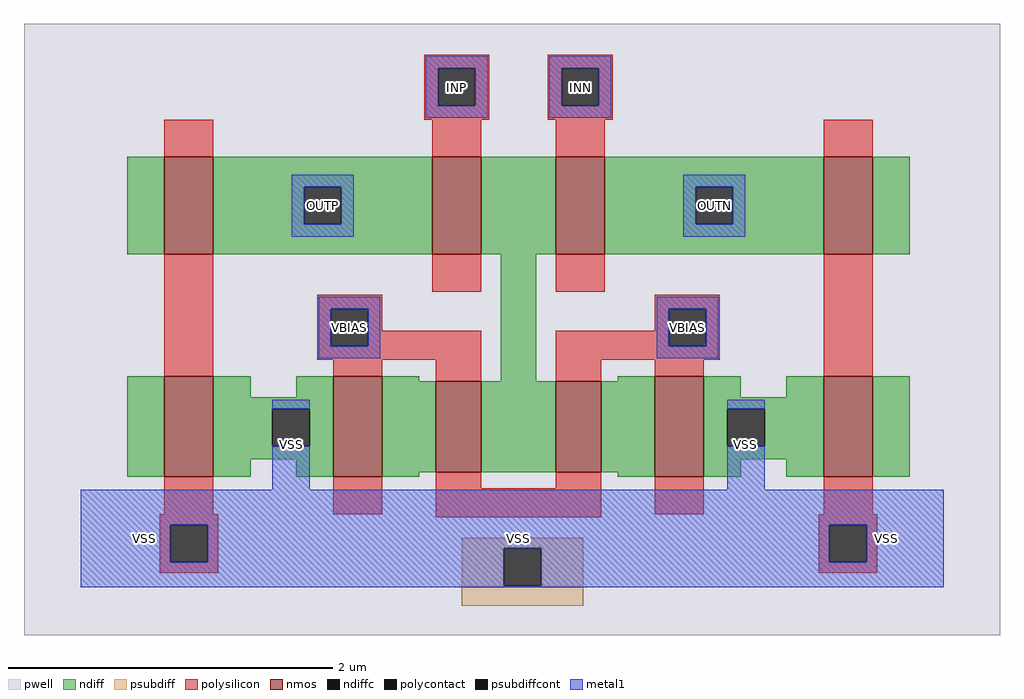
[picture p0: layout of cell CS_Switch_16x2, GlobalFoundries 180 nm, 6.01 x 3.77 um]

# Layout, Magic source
magic
tech gf180mcuD
magscale 1 10
<< pwell >>
rect -377 631 825 1384
<< nmos >>
rect -204 1100 -144 1220
rect 126 1100 186 1220
rect 278 1100 338 1220
rect 608 1100 668 1220
rect -204 826 -144 950
rect 4 826 64 950
rect 130 832 186 944
rect 278 832 334 944
rect 400 826 460 950
rect 608 826 668 950
<< ndiff >>
rect -250 1100 -204 1220
rect -144 1183 126 1220
rect -144 1137 -32 1183
rect 14 1137 126 1183
rect -144 1100 126 1137
rect 186 1100 278 1220
rect 338 1183 608 1220
rect 338 1137 450 1183
rect 496 1137 608 1183
rect 338 1100 608 1137
rect 668 1100 714 1220
rect -250 826 -204 950
rect -144 924 -98 950
rect -42 924 4 950
rect -144 910 4 924
rect -144 864 -71 910
rect -25 864 4 910
rect -144 848 4 864
rect -144 826 -98 848
rect -42 826 4 848
rect 64 944 110 950
rect 210 944 254 1100
rect 354 944 400 950
rect 64 832 130 944
rect 186 832 278 944
rect 334 832 400 944
rect 64 826 110 832
rect 354 826 400 832
rect 460 924 506 950
rect 562 924 608 950
rect 460 910 608 924
rect 460 864 489 910
rect 535 864 608 910
rect 460 848 608 864
rect 460 826 506 848
rect 562 826 608 848
rect 668 826 714 950
<< ndiffc >>
rect -32 1137 14 1183
rect 450 1137 496 1183
rect -71 864 -25 910
rect 489 864 535 910
<< psubdiff >>
rect 162 738 312 751
rect 162 692 214 738
rect 260 692 312 738
rect 162 667 312 692
<< psubdiffcont >>
rect 214 692 260 738
<< polysilicon >>
rect 116 1329 196 1346
rect 116 1283 133 1329
rect 179 1283 196 1329
rect 116 1266 196 1283
rect 268 1329 348 1346
rect 268 1283 285 1329
rect 331 1283 348 1329
rect 268 1266 348 1283
rect -204 1220 -144 1266
rect 126 1220 186 1266
rect 278 1220 338 1266
rect 608 1220 668 1266
rect -204 950 -144 1100
rect 126 1054 186 1100
rect -16 1033 64 1050
rect -16 987 1 1033
rect 47 1006 64 1033
rect 47 987 186 1006
rect -16 970 186 987
rect 4 950 64 970
rect 130 944 186 970
rect 278 1054 338 1100
rect 400 1033 480 1050
rect 400 1006 417 1033
rect 278 987 417 1006
rect 463 987 480 1033
rect 278 970 480 987
rect 278 944 334 970
rect 400 950 460 970
rect 608 950 668 1100
rect -204 780 -144 826
rect 4 780 64 826
rect 130 812 186 832
rect 278 812 334 832
rect -210 767 -138 780
rect 130 776 334 812
rect 400 780 460 826
rect 608 780 668 826
rect -210 721 -197 767
rect -151 721 -138 767
rect 602 767 674 780
rect -210 708 -138 721
rect 602 721 615 767
rect 661 721 674 767
rect 602 708 674 721
<< polycontact >>
rect 133 1283 179 1329
rect 285 1283 331 1329
rect 1 987 47 1033
rect 417 987 463 1033
rect -197 721 -151 767
rect 615 721 661 767
<< metal1 >>
rect 118 1329 194 1344
rect 118 1283 133 1329
rect 179 1283 194 1329
rect 118 1268 194 1283
rect 270 1329 346 1344
rect 270 1283 285 1329
rect 331 1283 346 1329
rect 270 1268 346 1283
rect -47 1183 29 1198
rect -47 1137 -32 1183
rect 14 1137 29 1183
rect -47 1122 29 1137
rect 435 1183 511 1198
rect 435 1137 450 1183
rect 496 1137 511 1183
rect 435 1122 511 1137
rect -14 1033 62 1048
rect -14 987 1 1033
rect 47 987 62 1033
rect -14 972 62 987
rect 402 1033 478 1048
rect 402 987 417 1033
rect 463 987 478 1033
rect 402 972 478 987
rect -71 910 -25 921
rect -71 810 -25 864
rect 489 910 535 921
rect 489 810 535 864
rect -307 767 756 810
rect -307 721 -197 767
rect -151 738 615 767
rect -151 721 214 738
rect -307 692 214 721
rect 260 721 615 738
rect 661 721 756 767
rect 260 692 756 721
rect -307 690 756 692
<< labels >>
flabel metal1 118 1268 194 1344 1 FreeSans 400 0 0 0 INP
port 1 n
flabel metal1 270 1268 346 1344 1 FreeSans 400 0 0 0 INN
port 2 n
flabel metal1 -47 1122 29 1198 1 FreeSans 400 0 0 0 OUTP
port 3 n
flabel metal1 435 1122 511 1198 1 FreeSans 400 0 0 0 OUTN
port 4 n
flabel metal1 -14 972 62 1048 1 FreeSans 400 0 0 0 VBIAS
port 5 n
flabel metal1 402 972 478 1048 1 FreeSans 400 0 0 0 VBIAS
port 6 n
flabel metal1 -151 690 615 810 1 FreeSans 400 0 0 0 VSS
port 7 n
rlabel pwell 615 690 756 811 1 VSS
port 7 n
rlabel pwell 489 810 535 921 1 VSS
port 7 n
rlabel pwell -71 810 -25 921 1 VSS
port 7 n
rlabel pwell -307 690 -151 810 1 VSS
port 7 n
<< end >>
